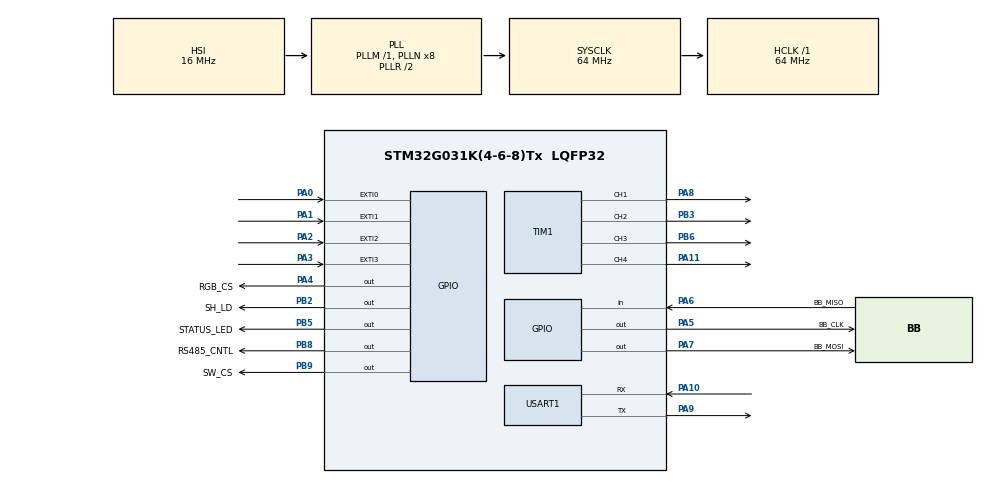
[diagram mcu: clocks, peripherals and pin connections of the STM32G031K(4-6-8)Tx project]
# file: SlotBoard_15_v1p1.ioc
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Mcu.Family=STM32G0
Mcu.Name=STM32G031K(4-6-8)Tx
Mcu.Package=LQFP32
NVIC.EXTI0_1_IRQn=true\:0\:0\:false\:false\:true\:true\:true\:true
NVIC.EXTI2_3_IRQn=true\:0\:0\:false\:false\:true\:true\:true\:true
NVIC.USART1_IRQn=true\:0\:0\:false\:false\:true\:true\:true\:true
PA0.GPIO_ModeDefaultEXTI=GPIO_MODE_IT_RISING
PA0.Signal=GPXTI0
PA1.GPIO_ModeDefaultEXTI=GPIO_MODE_IT_RISING
PA1.Signal=GPXTI1
PA10.Mode=Asynchronous
PA10.Signal=USART1_RX
PA11\ [PA9].Signal=S_TIM1_CH4
PA2.Signal=GPXTI2
PA3.Signal=GPXTI3
PA4.GPIO_Label=RGB_CS
PA4.PinState=GPIO_PIN_SET
PA4.Signal=GPIO_Output
PA5.GPIO_Label=BB_CLK
PA5.Signal=GPIO_Output
PA6.GPIO_Label=BB_MISO
PA6.GPIO_PuPd=GPIO_PULLUP
PA6.Signal=GPIO_Input
PA7.GPIO_Label=BB_MOSI
PA7.Signal=GPIO_Output
PA8.Signal=S_TIM1_CH1
PA9.Mode=Asynchronous
PA9.Signal=USART1_TX
PB2.GPIO_Label=SH_LD
PB2.PinState=GPIO_PIN_SET
PB2.Signal=GPIO_Output
PB3.Signal=S_TIM1_CH2
PB5.GPIO_Label=STATUS_LED
PB5.PinState=GPIO_PIN_SET
PB5.Signal=GPIO_Output
PB6.Signal=S_TIM1_CH3
PB8.GPIO_Label=RS485_CNTL
PB8.PinState=GPIO_PIN_RESET
PB8.Signal=GPIO_Output
PB9.GPIO_Label=SW_CS
PB9.PinState=GPIO_PIN_SET
PB9.Signal=GPIO_Output
PC14-OSC32_IN\ (PC14).Mode=LSE-External-Oscillator
PC14-OSC32_IN\ (PC14).Signal=RCC_OSC32_IN
PC15-OSC32_OUT\ (PC15).Mode=LSE-External-Oscillator
PC15-OSC32_OUT\ (PC15).Signal=RCC_OSC32_OUT
ProjectManager.HeapSize=0x200
ProjectManager.StackSize=0x200
ProjectManager.TargetToolchain=STM32CubeIDE
RCC.ADCFreq_Value=64000000
RCC.AHBFreq_Value=64000000
RCC.CortexFreq_Value=64000000
RCC.EXTERNAL_CLOCK_VALUE=12288000
RCC.HCLKFreq_Value=64000000
RCC.HSE_VALUE=8000000
RCC.HSI_VALUE=16000000
RCC.SYSCLKFreq_VALUE=64000000
RCC.SYSCLKSource=RCC_SYSCLKSOURCE_PLLCLK
RCC.VCOOutputFreq_Value=128000000
SH.S_TIM1_CH1.0=TIM1_CH1,PWM Generation1 CH1
SH.S_TIM1_CH2.0=TIM1_CH2,PWM Generation2 CH2
SH.S_TIM1_CH3.0=TIM1_CH3,PWM Generation3 CH3
SH.S_TIM1_CH4.0=TIM1_CH4,PWM Generation4 CH4
TIM1.Channel-PWM\ Generation1\ CH1=TIM_CHANNEL_1
TIM1.Channel-PWM\ Generation2\ CH2=TIM_CHANNEL_2
TIM1.Channel-PWM\ Generation3\ CH3=TIM_CHANNEL_3
TIM1.Channel-PWM\ Generation4\ CH4=TIM_CHANNEL_4
TIM14.Prescaler=64-1
TIM16.Prescaler=64-1
TIM17.Prescaler=64-1
TIM2.Prescaler=64-1
TIM3.Period=0xFFFF -1
TIM3.Prescaler=64-1
USART1.DMADisableonRxErrorParam=ADVFEATURE_DMA_DISABLEONRXERROR
USART1.OverrunDisableParam=ADVFEATURE_OVERRUN_DISABLE
USART1.VirtualMode-Asynchronous=VM_ASYNC
VP_SYS_V_PVD_IN.Mode=Mode_PVD_Int
VP_TIM14_VS_ClockSourceINT.Mode=Enable_Timer
VP_TIM16_VS_ClockSourceINT.Mode=Enable_Timer
VP_TIM17_VS_ClockSourceINT.Mode=Enable_Timer
VP_TIM1_VS_ClockSourceINT.Mode=Internal
VP_TIM2_VS_ClockSourceINT.Mode=Internal
VP_TIM3_VS_ClockSourceINT.Mode=Internal
board=custom

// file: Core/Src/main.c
/* USER CODE BEGIN Header */
/**
  ******************************************************************************
  * @file           : main.c
  * @brief          : Main program body
  ******************************************************************************
  * @attention
  *
  * Copyright (c) 2023 STMicroelectronics.
  * All rights reserved.
  *
  * This software is licensed under terms that can be found in the LICENSE file
  * in the root directory of this software component.
  * If no LICENSE file comes with this software, it is provided AS-IS.
  *
  ******************************************************************************
  */
/* USER CODE END Header */
#include "main.h"

// Iam varun

/* USER CODE BEGIN Includes */
//#include "../Inc/Modbus.h"
#include <stdio.h>
#include "IRremote.h"
#include "modbusSlave.h"
/* USER CODE END Includes */

/* USER CODE BEGIN PD */

#define TIMCLOCK  16000000
#define PRESCALAR 16

#define STATUS_LED(x)    ( HAL_GPIO_WritePin(STATUS_LED_GPIO_Port, STATUS_LED_Pin, x))
/* USER CODE END PD */

TIM_HandleTypeDef htim1;
TIM_HandleTypeDef htim2;
TIM_HandleTypeDef htim3;
TIM_HandleTypeDef htim14;
TIM_HandleTypeDef htim16;
TIM_HandleTypeDef htim17;

UART_HandleTypeDef huart1;

/* USER CODE BEGIN PV */

uint8_t SlaveID = 0;

uint8_t RxData[50];
uint8_t TxData[50];
uint8_t SlotParam[5];
//uint8_t EmptyLoc = 0xFF;
uint8_t diffloc,i;
uint8_t PresentData = 0x00;
extern Slot15_t Slot;
ModeStaus_t ModeState = CheckStatus;
uint16_t crc_cal = 0x00,crcrx = 0x00;
/* USER CODE END PV */

void SystemClock_Config(void);
static void MX_GPIO_Init(void);
static void MX_USART1_UART_Init(void);
static void MX_TIM1_Init(void);
static void MX_TIM3_Init(void);
static void MX_TIM2_Init(void);
static void MX_TIM14_Init(void);
static void MX_TIM16_Init(void);
static void MX_TIM17_Init(void);
/* USER CODE BEGIN PFP */
#ifdef __GNUC__
#define PUTCHAR_PROTOTYPE int __io_putchar(int ch)
#else
#define PUTCHAR_PROTOTYPE int fputc(int ch, FILE *f)
#endif

PUTCHAR_PROTOTYPE
{
//  HAL_UART_Transmit(&huart2, (uint8_t *)&ch, 1, HAL_MAX_DELAY);
  return ch;
}
/* USER CODE END PFP */

/* USER CODE BEGIN 0 */
void delay(uint32_t var)
{
	uint32_t i = 0;
	while(i < var)
	{
		i++;
	}

}

void HAL_UARTEx_RxEventCallback(UART_HandleTypeDef *huart, uint16_t Size)
{
	 __HAL_UART_CLEAR_FLAG(huart, UART_CLEAR_OREF | UART_CLEAR_NEF | UART_CLEAR_PEF | UART_CLEAR_FEF);
	if((RxData[0] == SlaveID) || (RxData[0] == 0x01))
	{
			crc_cal = crc16(RxData, 7);
			crcrx = ((RxData[8]<<8)|RxData[7]);
			if(crc_cal == crcrx)
			{
				if (RxData[0] == SlaveID)
				{
					switch (RxData[1]){
					case 0x01:
						updateSlotData();
					    HAL_GPIO_TogglePin(STATUS_LED_GPIO_Port, STATUS_LED_Pin);
		//				ModeState = PresentUpdate;
			//			updateSlotData();
						break;
					case 0x04:
						prr();
		//				ModeState = PickupRequest;
						break;
					default:
						modbusException(ILLEGAL_FUNCTION);
						break;
					}
				}
				else if(RxData[0] == 0x01)                //Broadcast Data Received
				{
					switch (RxData[1])
					{
						case 0x01:
							for(i = 2; i<7;i++)
							 SlotParam[i-2] = RxData[i];
			//				ModeState = LedUpdate;
							break;
						case 0x03:
							lrr();
		//					ModeState = LoadRequest;
				//			lrr();                             //Load Reel Request
							break;
						default:
							modbusException(ILLEGAL_FUNCTION);
							break;
					}
				}
			}
	}
	while(HAL_UARTEx_ReceiveToIdle_IT(&huart1, RxData, 40) != HAL_OK);

}
static uint8_t ReadSW_ID(void){
	// Read switch data ID
    uint8_t value = 0,bit = 7;
	HAL_GPIO_WritePin(SH_LD_GPIO_Port, SH_LD_Pin, GPIO_PIN_RESET);
	HAL_GPIO_WritePin(SW_CS_GPIO_Port, SW_CS_Pin, GPIO_PIN_RESET);
	delay(10);
	for(int i =0; i < 8; i++)
	{
		HAL_GPIO_WritePin(BB_CLK_GPIO_Port, BB_CLK_Pin, GPIO_PIN_RESET);
		delay(10);
		HAL_GPIO_WritePin(BB_CLK_GPIO_Port, BB_CLK_Pin, GPIO_PIN_SET);
		HAL_GPIO_WritePin(SH_LD_GPIO_Port, SH_LD_Pin, GPIO_PIN_SET);
		if((HAL_GPIO_ReadPin(BB_MISO_GPIO_Port, BB_MISO_Pin)) == GPIO_PIN_SET)
			value |= (1 << bit);
		else
			value &= ~(1 << bit);
		bit--;
	}
	HAL_GPIO_WritePin(SW_CS_GPIO_Port, SW_CS_Pin, GPIO_PIN_SET);
	return value;
}

/* USER CODE END 0 */

int main(void)
{

  /* MCU Configuration--------------------------------------------------------*/

  /* Reset of all peripherals, Initializes the Flash interface and the Systick. */
  HAL_Init();

  /* Configure the system clock */
  SystemClock_Config();

  /* Initialize all configured peripherals */
  MX_GPIO_Init();
  MX_USART1_UART_Init();
  MX_TIM1_Init();
  MX_TIM3_Init();
  MX_TIM2_Init();
  MX_TIM14_Init();
  MX_TIM16_Init();
  MX_TIM17_Init();
  /* USER CODE BEGIN 2 */
  HAL_TIM_Base_Start(&htim3);
  HAL_TIM_Base_Start(&htim2);
  HAL_TIM_Base_Start(&htim14);
  HAL_TIM_Base_Start(&htim16);
  HAL_TIM_Base_Start(&htim17);
  __HAL_TIM_SET_COUNTER(&htim2, 0);
  __HAL_TIM_SET_COUNTER(&htim14, 0);
  __HAL_TIM_SET_COUNTER(&htim16, 0);
  __HAL_TIM_SET_COUNTER(&htim17, 0);
  enableIROut(38);
  SlaveID = ReadSW_ID();
  HAL_UARTEx_ReceiveToIdle_IT(&huart1, RxData, 40);
//  HAL_TIM_IC_Start_IT(&htim2,TIM_CHANNEL_1);
//  printf("Hello World \n\r");

  RGBInit();
  AllLedOff(20);
//
//  Pink(0,14,0);
//  Pink(0,14,0);
  /* USER CODE END 2 */

  /* Infinite loop */
  /* USER CODE BEGIN WHILE */

  while (1)
  {

/*	  switch(ModeState)
		{
		  case CheckStatus:
							  break;

		  case PresentUpdate:

//							  if(crc_cal == RxData[7])
//							  {
//								  updateSlotData();
//								  HAL_GPIO_TogglePin(STATUS_LED_GPIO_Port, STATUS_LED_Pin);
//							  }
							  ModeState = CheckStatus;
							  break;

		  case LedUpdate:
//							  PresentData = *(uint8_t *)&Slot;
//							  diffloc = EMPTY_SLOT ^ PresentData;
//							  UpdateSlotLeds(diffloc,RxData[2]);
							  ModeState = CheckStatus;
							  break;

		  case LoadRequest:
//							  crc_cal = crc8(RxData, 8);
//							  if(crc_cal == RxData[8])
//							  {
								  lrr();
//							  }
							  ModeState = CheckStatus;
							  break;

		  case PickupRequest:
//							  crc_cal = crc8(RxData, 7);
//							  if(crc_cal == RxData[7])
//							  {
								  prr();
//							  }
							  ModeState = CheckStatus;
							  break;

		  default:			  ModeState = CheckStatus;
							  break;
		}*/
	   SlotDataChek();
	   delay(100);
//	  if(PulseReceived == 1)
//	  {
//		  STATUS_LED(0);
//		  HAL_Delay(100);
//		  STATUS_LED(1);
//		  HAL_Delay(100);
//		  SlotDataChek();
//		  PulseReceived = 0;
//	  }
//	  HAL_UART_Transmit(&huart1, (uint8_t *)"Hello World",sizeof("Hello World"), HAL_MAX_DELAY);
//	  HAL_Delay(100);

    /* USER CODE END WHILE */

  }
}

void SystemClock_Config(void)
{
  RCC_OscInitTypeDef RCC_OscInitStruct = {0};
  RCC_ClkInitTypeDef RCC_ClkInitStruct = {0};

  /** Configure the main internal regulator output voltage
  */
  HAL_PWREx_ControlVoltageScaling(PWR_REGULATOR_VOLTAGE_SCALE1);

  /** Initializes the RCC Oscillators according to the specified parameters
  * in the RCC_OscInitTypeDef structure.
  */
  RCC_OscInitStruct.OscillatorType = RCC_OSCILLATORTYPE_HSI;
  RCC_OscInitStruct.HSIState = RCC_HSI_ON;
  RCC_OscInitStruct.HSIDiv = RCC_HSI_DIV1;
  RCC_OscInitStruct.HSICalibrationValue = RCC_HSICALIBRATION_DEFAULT;
  RCC_OscInitStruct.PLL.PLLState = RCC_PLL_ON;
  RCC_OscInitStruct.PLL.PLLSource = RCC_PLLSOURCE_HSI;
  RCC_OscInitStruct.PLL.PLLM = RCC_PLLM_DIV1;
  RCC_OscInitStruct.PLL.PLLN = 8;
  RCC_OscInitStruct.PLL.PLLP = RCC_PLLP_DIV2;
  RCC_OscInitStruct.PLL.PLLQ = RCC_PLLQ_DIV2;
  RCC_OscInitStruct.PLL.PLLR = RCC_PLLR_DIV2;
  if (HAL_RCC_OscConfig(&RCC_OscInitStruct) != HAL_OK)
  {
    Error_Handler();
  }

  /** Initializes the CPU, AHB and APB buses clocks
  */
  RCC_ClkInitStruct.ClockType = RCC_CLOCKTYPE_HCLK|RCC_CLOCKTYPE_SYSCLK
                              |RCC_CLOCKTYPE_PCLK1;
  RCC_ClkInitStruct.SYSCLKSource = RCC_SYSCLKSOURCE_PLLCLK;
  RCC_ClkInitStruct.AHBCLKDivider = RCC_SYSCLK_DIV1;
  RCC_ClkInitStruct.APB1CLKDivider = RCC_HCLK_DIV1;

  if (HAL_RCC_ClockConfig(&RCC_ClkInitStruct, FLASH_LATENCY_2) != HAL_OK)
  {
    Error_Handler();
  }
}

static void MX_TIM1_Init(void)
{

  TIM_ClockConfigTypeDef sClockSourceConfig = {0};
  TIM_MasterConfigTypeDef sMasterConfig = {0};
  TIM_OC_InitTypeDef sConfigOC = {0};
  TIM_BreakDeadTimeConfigTypeDef sBreakDeadTimeConfig = {0};

  htim1.Instance = TIM1;
  htim1.Init.Prescaler = 0;
  htim1.Init.CounterMode = TIM_COUNTERMODE_UP;
  htim1.Init.Period = 65535;
  htim1.Init.ClockDivision = TIM_CLOCKDIVISION_DIV1;
  htim1.Init.RepetitionCounter = 0;
  htim1.Init.AutoReloadPreload = TIM_AUTORELOAD_PRELOAD_DISABLE;
  if (HAL_TIM_Base_Init(&htim1) != HAL_OK)
  {
    Error_Handler();
  }
  sClockSourceConfig.ClockSource = TIM_CLOCKSOURCE_INTERNAL;
  if (HAL_TIM_ConfigClockSource(&htim1, &sClockSourceConfig) != HAL_OK)
  {
    Error_Handler();
  }
  if (HAL_TIM_PWM_Init(&htim1) != HAL_OK)
  {
    Error_Handler();
  }
  sMasterConfig.MasterOutputTrigger = TIM_TRGO_RESET;
  sMasterConfig.MasterOutputTrigger2 = TIM_TRGO2_RESET;
  sMasterConfig.MasterSlaveMode = TIM_MASTERSLAVEMODE_DISABLE;
  if (HAL_TIMEx_MasterConfigSynchronization(&htim1, &sMasterConfig) != HAL_OK)
  {
    Error_Handler();
  }
  sConfigOC.OCMode = TIM_OCMODE_PWM1;
  sConfigOC.Pulse = 0;
  sConfigOC.OCPolarity = TIM_OCPOLARITY_HIGH;
  sConfigOC.OCNPolarity = TIM_OCNPOLARITY_HIGH;
  sConfigOC.OCFastMode = TIM_OCFAST_DISABLE;
  sConfigOC.OCIdleState = TIM_OCIDLESTATE_RESET;
  sConfigOC.OCNIdleState = TIM_OCNIDLESTATE_RESET;
  if (HAL_TIM_PWM_ConfigChannel(&htim1, &sConfigOC, TIM_CHANNEL_1) != HAL_OK)
  {
    Error_Handler();
  }
  if (HAL_TIM_PWM_ConfigChannel(&htim1, &sConfigOC, TIM_CHANNEL_2) != HAL_OK)
  {
    Error_Handler();
  }
  if (HAL_TIM_PWM_ConfigChannel(&htim1, &sConfigOC, TIM_CHANNEL_3) != HAL_OK)
  {
    Error_Handler();
  }
  if (HAL_TIM_PWM_ConfigChannel(&htim1, &sConfigOC, TIM_CHANNEL_4) != HAL_OK)
  {
    Error_Handler();
  }
  sBreakDeadTimeConfig.OffStateRunMode = TIM_OSSR_DISABLE;
  sBreakDeadTimeConfig.OffStateIDLEMode = TIM_OSSI_DISABLE;
  sBreakDeadTimeConfig.LockLevel = TIM_LOCKLEVEL_OFF;
  sBreakDeadTimeConfig.DeadTime = 0;
  sBreakDeadTimeConfig.BreakState = TIM_BREAK_DISABLE;
  sBreakDeadTimeConfig.BreakPolarity = TIM_BREAKPOLARITY_HIGH;
  sBreakDeadTimeConfig.BreakFilter = 0;
  sBreakDeadTimeConfig.BreakAFMode = TIM_BREAK_AFMODE_INPUT;
  sBreakDeadTimeConfig.Break2State = TIM_BREAK2_DISABLE;
  sBreakDeadTimeConfig.Break2Polarity = TIM_BREAK2POLARITY_HIGH;
  sBreakDeadTimeConfig.Break2Filter = 0;
  sBreakDeadTimeConfig.Break2AFMode = TIM_BREAK_AFMODE_INPUT;
  sBreakDeadTimeConfig.AutomaticOutput = TIM_AUTOMATICOUTPUT_DISABLE;
  if (HAL_TIMEx_ConfigBreakDeadTime(&htim1, &sBreakDeadTimeConfig) != HAL_OK)
  {
    Error_Handler();
  }
  HAL_TIM_MspPostInit(&htim1);

}

static void MX_TIM2_Init(void)
{

  TIM_ClockConfigTypeDef sClockSourceConfig = {0};
  TIM_MasterConfigTypeDef sMasterConfig = {0};

  htim2.Instance = TIM2;
  htim2.Init.Prescaler = 64-1;
  htim2.Init.CounterMode = TIM_COUNTERMODE_UP;
  htim2.Init.Period = 4294967295;
  htim2.Init.ClockDivision = TIM_CLOCKDIVISION_DIV1;
  htim2.Init.AutoReloadPreload = TIM_AUTORELOAD_PRELOAD_DISABLE;
  if (HAL_TIM_Base_Init(&htim2) != HAL_OK)
  {
    Error_Handler();
  }
  sClockSourceConfig.ClockSource = TIM_CLOCKSOURCE_INTERNAL;
  if (HAL_TIM_ConfigClockSource(&htim2, &sClockSourceConfig) != HAL_OK)
  {
    Error_Handler();
  }
  sMasterConfig.MasterOutputTrigger = TIM_TRGO_RESET;
  sMasterConfig.MasterSlaveMode = TIM_MASTERSLAVEMODE_DISABLE;
  if (HAL_TIMEx_MasterConfigSynchronization(&htim2, &sMasterConfig) != HAL_OK)
  {
    Error_Handler();
  }

}

static void MX_TIM3_Init(void)
{

  TIM_ClockConfigTypeDef sClockSourceConfig = {0};
  TIM_MasterConfigTypeDef sMasterConfig = {0};

  htim3.Instance = TIM3;
  htim3.Init.Prescaler = 64-1;
  htim3.Init.CounterMode = TIM_COUNTERMODE_UP;
  htim3.Init.Period = 0xFFFF -1;
  htim3.Init.ClockDivision = TIM_CLOCKDIVISION_DIV1;
  htim3.Init.AutoReloadPreload = TIM_AUTORELOAD_PRELOAD_DISABLE;
  if (HAL_TIM_Base_Init(&htim3) != HAL_OK)
  {
    Error_Handler();
  }
  sClockSourceConfig.ClockSource = TIM_CLOCKSOURCE_INTERNAL;
  if (HAL_TIM_ConfigClockSource(&htim3, &sClockSourceConfig) != HAL_OK)
  {
    Error_Handler();
  }
  sMasterConfig.MasterOutputTrigger = TIM_TRGO_RESET;
  sMasterConfig.MasterSlaveMode = TIM_MASTERSLAVEMODE_DISABLE;
  if (HAL_TIMEx_MasterConfigSynchronization(&htim3, &sMasterConfig) != HAL_OK)
  {
    Error_Handler();
  }

}

static void MX_TIM14_Init(void)
{

  htim14.Instance = TIM14;
  htim14.Init.Prescaler = 64-1;
  htim14.Init.CounterMode = TIM_COUNTERMODE_UP;
  htim14.Init.Period = 65535;
  htim14.Init.ClockDivision = TIM_CLOCKDIVISION_DIV1;
  htim14.Init.AutoReloadPreload = TIM_AUTORELOAD_PRELOAD_DISABLE;
  if (HAL_TIM_Base_Init(&htim14) != HAL_OK)
  {
    Error_Handler();
  }

}

static void MX_TIM16_Init(void)
{

  htim16.Instance = TIM16;
  htim16.Init.Prescaler = 64-1;
  htim16.Init.CounterMode = TIM_COUNTERMODE_UP;
  htim16.Init.Period = 65535;
  htim16.Init.ClockDivision = TIM_CLOCKDIVISION_DIV1;
  htim16.Init.RepetitionCounter = 0;
  htim16.Init.AutoReloadPreload = TIM_AUTORELOAD_PRELOAD_DISABLE;
  if (HAL_TIM_Base_Init(&htim16) != HAL_OK)
  {
    Error_Handler();
  }

}

static void MX_TIM17_Init(void)
{

  htim17.Instance = TIM17;
  htim17.Init.Prescaler = 64-1;
  htim17.Init.CounterMode = TIM_COUNTERMODE_UP;
  htim17.Init.Period = 65535;
  htim17.Init.ClockDivision = TIM_CLOCKDIVISION_DIV1;
  htim17.Init.RepetitionCounter = 0;
  htim17.Init.AutoReloadPreload = TIM_AUTORELOAD_PRELOAD_DISABLE;
  if (HAL_TIM_Base_Init(&htim17) != HAL_OK)
  {
    Error_Handler();
  }

}

static void MX_USART1_UART_Init(void)
{

  huart1.Instance = USART1;
  huart1.Init.BaudRate = 115200;
  huart1.Init.WordLength = UART_WORDLENGTH_8B;
  huart1.Init.StopBits = UART_STOPBITS_1;
  huart1.Init.Parity = UART_PARITY_NONE;
  huart1.Init.Mode = UART_MODE_TX_RX;
  huart1.Init.HwFlowCtl = UART_HWCONTROL_NONE;
  huart1.Init.OverSampling = UART_OVERSAMPLING_16;
  huart1.Init.OneBitSampling = UART_ONE_BIT_SAMPLE_DISABLE;
  huart1.Init.ClockPrescaler = UART_PRESCALER_DIV1;
  huart1.AdvancedInit.AdvFeatureInit = UART_ADVFEATURE_RXOVERRUNDISABLE_INIT|UART_ADVFEATURE_DMADISABLEONERROR_INIT;
  huart1.AdvancedInit.OverrunDisable = UART_ADVFEATURE_OVERRUN_DISABLE;
  huart1.AdvancedInit.DMADisableonRxError = UART_ADVFEATURE_DMA_DISABLEONRXERROR;
  if (HAL_UART_Init(&huart1) != HAL_OK)
  {
    Error_Handler();
  }
  if (HAL_UARTEx_SetTxFifoThreshold(&huart1, UART_TXFIFO_THRESHOLD_1_8) != HAL_OK)
  {
    Error_Handler();
  }
  if (HAL_UARTEx_SetRxFifoThreshold(&huart1, UART_RXFIFO_THRESHOLD_1_8) != HAL_OK)
  {
    Error_Handler();
  }
  if (HAL_UARTEx_DisableFifoMode(&huart1) != HAL_OK)
  {
    Error_Handler();
  }

}

static void MX_GPIO_Init(void)
{
  GPIO_InitTypeDef GPIO_InitStruct = {0};

  /* GPIO Ports Clock Enable */
  __HAL_RCC_GPIOB_CLK_ENABLE();
  __HAL_RCC_GPIOC_CLK_ENABLE();
  __HAL_RCC_GPIOA_CLK_ENABLE();

  /*Configure GPIO pin Output Level */
  HAL_GPIO_WritePin(GPIOB, SW_CS_Pin|SH_LD_Pin|STATUS_LED_Pin, GPIO_PIN_SET);

  /*Configure GPIO pin Output Level */
  HAL_GPIO_WritePin(RGB_CS_GPIO_Port, RGB_CS_Pin, GPIO_PIN_SET);

  /*Configure GPIO pin Output Level */
  HAL_GPIO_WritePin(GPIOA, BB_CLK_Pin|BB_MOSI_Pin, GPIO_PIN_RESET);

  /*Configure GPIO pin Output Level */
  HAL_GPIO_WritePin(RS485_CNTL_GPIO_Port, RS485_CNTL_Pin, GPIO_PIN_RESET);

  /*Configure GPIO pins : SW_CS_Pin SH_LD_Pin STATUS_LED_Pin RS485_CNTL_Pin */
  GPIO_InitStruct.Pin = SW_CS_Pin|SH_LD_Pin|STATUS_LED_Pin|RS485_CNTL_Pin;
  GPIO_InitStruct.Mode = GPIO_MODE_OUTPUT_PP;
  GPIO_InitStruct.Pull = GPIO_NOPULL;
  GPIO_InitStruct.Speed = GPIO_SPEED_FREQ_LOW;
  HAL_GPIO_Init(GPIOB, &GPIO_InitStruct);

  /*Configure GPIO pins : PA0 PA1 PA2 PA3 */
  GPIO_InitStruct.Pin = GPIO_PIN_0|GPIO_PIN_1|GPIO_PIN_2|GPIO_PIN_3;
  GPIO_InitStruct.Mode = GPIO_MODE_IT_RISING;
  GPIO_InitStruct.Pull = GPIO_NOPULL;
  HAL_GPIO_Init(GPIOA, &GPIO_InitStruct);

  /*Configure GPIO pins : RGB_CS_Pin BB_CLK_Pin BB_MOSI_Pin */
  GPIO_InitStruct.Pin = RGB_CS_Pin|BB_CLK_Pin|BB_MOSI_Pin;
  GPIO_InitStruct.Mode = GPIO_MODE_OUTPUT_PP;
  GPIO_InitStruct.Pull = GPIO_NOPULL;
  GPIO_InitStruct.Speed = GPIO_SPEED_FREQ_LOW;
  HAL_GPIO_Init(GPIOA, &GPIO_InitStruct);

  /*Configure GPIO pin : BB_MISO_Pin */
  GPIO_InitStruct.Pin = BB_MISO_Pin;
  GPIO_InitStruct.Mode = GPIO_MODE_INPUT;
  GPIO_InitStruct.Pull = GPIO_PULLUP;
  HAL_GPIO_Init(BB_MISO_GPIO_Port, &GPIO_InitStruct);

  /* EXTI interrupt init*/
  HAL_NVIC_SetPriority(EXTI0_1_IRQn, 0, 0);
  HAL_NVIC_EnableIRQ(EXTI0_1_IRQn);

  HAL_NVIC_SetPriority(EXTI2_3_IRQn, 0, 0);
  HAL_NVIC_EnableIRQ(EXTI2_3_IRQn);

}

void Error_Handler(void)
{
  __disable_irq();
  while (1)
  {
  }
}
